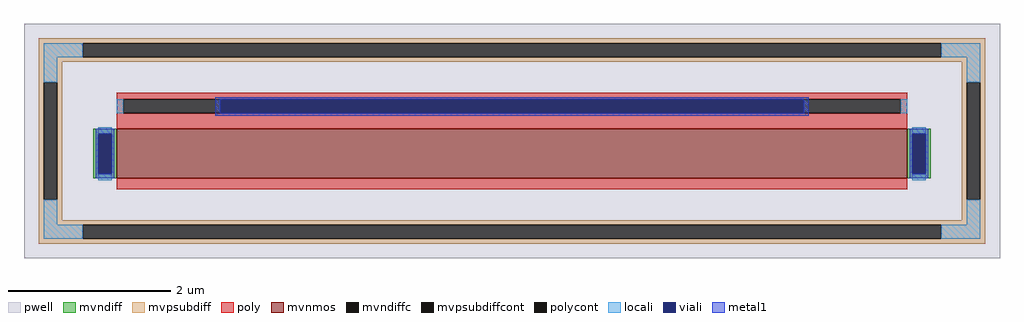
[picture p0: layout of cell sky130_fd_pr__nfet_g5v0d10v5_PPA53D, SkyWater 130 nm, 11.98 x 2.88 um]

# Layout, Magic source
magic
tech sky130A
<< pwell >>
rect -599 -144 599 144
<< mvnmos >>
rect -485 -46 485 15
<< mvndiff >>
rect -514 9 -485 15
rect -514 -40 -508 9
rect -491 -40 -485 9
rect -514 -46 -485 -40
rect 485 9 514 15
rect 485 -40 491 9
rect 508 -40 514 9
rect 485 -46 514 -40
<< mvndiffc >>
rect -508 -40 -491 9
rect 491 -40 508 9
<< mvpsubdiff >>
rect -581 120 581 126
rect -581 103 -527 120
rect 527 103 581 120
rect -581 97 581 103
rect -581 72 -552 97
rect -581 -72 -575 72
rect -558 -72 -552 72
rect 552 72 581 97
rect -581 -97 -552 -72
rect 552 -72 558 72
rect 575 -72 581 72
rect 552 -97 581 -72
rect -581 -103 581 -97
rect -581 -120 -527 -103
rect 527 -120 581 -103
rect -581 -126 581 -120
<< mvpsubdiffcont >>
rect -527 103 527 120
rect -575 -72 -558 72
rect 558 -72 575 72
rect -527 -120 527 -103
<< poly >>
rect -485 51 485 59
rect -485 34 -477 51
rect 477 34 485 51
rect -485 15 485 34
rect -485 -59 485 -46
<< polycont >>
rect -477 34 477 51
<< locali >>
rect -575 103 -527 120
rect 527 103 575 120
rect -575 72 -558 103
rect 558 72 575 103
rect -485 34 -477 51
rect 477 34 485 51
rect -508 9 -491 17
rect -508 -48 -491 -40
rect 491 9 508 17
rect 491 -48 508 -40
rect -575 -103 -558 -72
rect 558 -103 575 -72
rect -575 -120 -527 -103
rect 527 -120 575 -103
<< viali >>
rect -358 34 358 51
rect -508 -40 -491 9
rect 491 -40 508 9
<< metal1 >>
rect -364 51 364 54
rect -364 34 -358 51
rect 358 34 364 51
rect -364 31 364 34
rect -511 9 -488 15
rect -511 -40 -508 9
rect -491 -40 -488 9
rect -511 -46 -488 -40
rect 488 9 511 15
rect 488 -40 491 9
rect 508 -40 511 9
rect 488 -46 511 -40
<< properties >>
string FIXED_BBOX -566 -111 566 111
string gencell sky130_fd_pr__nfet_g5v0d10v5
string library sky130
string parameters w 0.61 l 9.7 m 1 nf 1 diffcov 100 polycov 100 guard 1 glc 1 grc 1 gtc 1 gbc 1 tbcov 100 rlcov 100 topc 1 botc 0 poverlap 0 doverlap 1 lmin 0.50 wmin 0.42 compatible {sky130_fd_pr__nfet_01v8 sky130_fd_pr__nfet_01v8_lvt  sky130_fd_bs_flash__special_sonosfet_star  sky130_fd_pr__nfet_g5v0d10v5 sky130_fd_pr__nfet_05v0_nvt  sky130_fd_pr__nfet_03v3_nvt} full_metal 1 viasrc 100 viadrn 100 viagate 75 viagb 0 viagr 0 viagl 0 viagt 0
<< end >>
